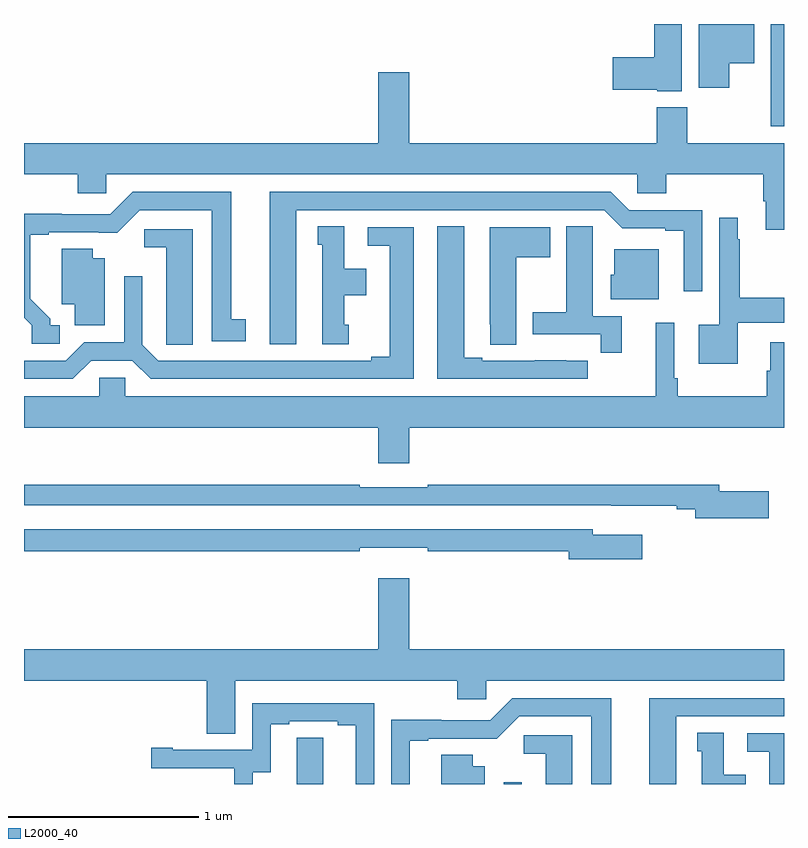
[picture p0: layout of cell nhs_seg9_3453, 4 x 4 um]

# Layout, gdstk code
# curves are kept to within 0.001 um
import gdstk
lib = gdstk.Library(unit=1e-6, precision=1e-09)
def R(c, l, rs):  # rectangles x0, y0, x1, y1
    for r in rs: c.add(gdstk.rectangle(r[:2], r[2:], *l))
def P(c, l, *ps):  # polygons
    for p in ps: c.add(gdstk.Polygon(p, *l))
L2000_40 = (2000, 40)

nhs_seg9_3453 = lib.new_cell('nhs_seg9_3453')
R(nhs_seg9_3453, L2000_40, [(309.525,1238.5,309.621,1238.509), (310.931,1241.963,311,1242.5)])
P(nhs_seg9_3453, L2000_40, [(310.462,1242.5),(310.316,1242.5),(310.316,1242.326),(310.098,1242.326),(310.098,1242.155),(310.332,1242.155),(310.332,1242.146),(310.462,1242.146)],
  [(310.711,1242.293),(310.843,1242.293),(310.843,1242.5),(310.55,1242.5),(310.55,1242.165),(310.711,1242.165)],
  [(311,1241.872),(310.491,1241.872),(310.491,1242.061),(310.331,1242.061),(310.331,1241.872),(309.028,1241.872),(309.028,1242.247),(308.864,1242.247),(308.864,1241.872),(307,1241.872),(307,1241.708),(307.283,1241.708),(307.283,1241.61),(307.434,1241.61),(307.434,1241.708),(310.227,1241.708),(310.227,1241.61),(310.379,1241.61),(310.379,1241.708),(310.892,1241.708),(310.892,1241.566),(310.904,1241.566),(310.904,1241.418),(311,1241.418)],
  [(307.187,1240.914),(307.138,1240.914),(307.138,1240.949),(307.033,1241.054),(307.033,1241.391),(307.129,1241.391),(307.129,1241.403),(307.49,1241.402),(307.608,1241.52),(307.988,1241.52),(307.988,1240.83),(308.167,1240.83),(308.167,1240.946),(308.092,1240.946),(308.092,1241.616),(307.572,1241.616),(307.455,1241.499),(307.199,1241.499),(307.199,1241.501),(307,1241.501),(307,1240.955),(307.041,1240.914),(307.041,1240.818),(307.187,1240.818)],
  [(308.434,1241.52),(310.053,1241.52),(310.149,1241.424),(310.376,1241.424),(310.376,1241.412),(310.472,1241.412),(310.472,1241.094),(310.569,1241.094),(310.569,1241.52),(310.185,1241.52),(310.089,1241.616),(308.294,1241.616),(308.294,1240.815),(308.434,1240.815)],
  [(310.756,1240.928),(311,1240.928),(311,1241.058),(310.768,1241.058),(310.768,1241.366),(310.756,1241.366),(310.756,1241.479),(310.659,1241.479),(310.659,1240.918),(310.55,1240.918),(310.55,1240.712),(310.756,1240.712)],
  [(310.145,1240.962),(309.994,1240.962),(309.994,1241.324),(309.993,1241.324),(309.993,1241.435),(309.854,1241.435),(309.854,1240.983),(309.677,1240.983),(309.677,1240.866),(310.036,1240.866),(310.036,1240.77),(310.145,1240.77)],
  [(309.967,1240.728),(309.854,1240.728),(309.854,1240.729),(309.688,1240.729),(309.688,1240.728),(309.412,1240.728),(309.412,1240.743),(309.316,1240.743),(309.316,1241.435),(309.176,1241.435),(309.176,1240.632),(309.967,1240.632)],
  [(308.71,1240.917),(308.686,1240.917),(308.686,1241.072),(308.8,1241.072),(308.8,1241.212),(308.686,1241.212),(308.686,1241.435),(308.546,1241.435),(308.546,1241.337),(308.57,1241.337),(308.57,1240.815),(308.71,1240.815)],
  [(309.592,1241.272),(309.769,1241.272),(309.769,1241.431),(309.452,1241.431),(309.452,1240.921),(309.453,1240.921),(309.453,1240.813),(309.592,1240.813)],
  [(307.353,1240.728),(307.571,1240.728),(307.667,1240.632),(309.052,1240.632),(309.052,1241.43),(308.808,1241.43),(308.808,1241.334),(308.924,1241.334),(308.924,1240.748),(308.828,1240.748),(308.828,1240.728),(307.707,1240.728),(307.623,1240.812),(307.623,1241.173),(307.527,1241.173),(307.527,1240.824),(307.317,1240.824),(307.221,1240.728),(307,1240.728),(307,1240.632),(307.257,1240.632)],
  [(307.888,1241.421),(307.632,1241.421),(307.632,1241.324),(307.748,1241.324),(307.748,1240.921),(307.749,1240.921),(307.749,1240.813),(307.888,1240.813)],
  [(307.426,1241.266),(307.363,1241.266),(307.363,1241.318),(307.199,1241.318),(307.199,1241.024),(307.268,1241.024),(307.268,1240.914),(307.426,1240.914)],
  [(310.342,1241.314),(310.106,1241.314),(310.106,1241.181),(310.088,1241.181),(310.088,1241.051),(310.342,1241.051)],
  [(309.028,1240.376),(311,1240.376),(311,1240.825),(310.928,1240.825),(310.928,1240.674),(310.909,1240.674),(310.909,1240.54),(310.442,1240.54),(310.442,1240.636),(310.422,1240.636),(310.422,1240.927),(310.325,1240.927),(310.325,1240.54),(307.533,1240.54),(307.533,1240.638),(307.395,1240.638),(307.395,1240.54),(307,1240.54),(307,1240.376),(308.864,1240.376),(308.864,1240.188),(309.028,1240.188)],
  [(310.921,1240.041),(310.66,1240.041),(310.66,1240.075),(309.124,1240.075),(309.124,1240.062),(308.768,1240.062),(308.768,1240.075),(307,1240.075),(307,1239.966),(310.09,1239.966),(310.09,1239.965),(310.436,1239.965),(310.436,1239.946),(310.532,1239.946),(310.532,1239.899),(310.921,1239.899)],
  [(310.255,1239.811),(309.994,1239.811),(309.994,1239.84),(307,1239.84),(307,1239.724),(308.768,1239.724),(308.768,1239.743),(309.124,1239.743),(309.124,1239.724),(309.866,1239.724),(309.866,1239.682),(310.255,1239.682)],
  [(309.028,1239.583),(308.864,1239.583),(308.864,1239.208),(307,1239.208),(307,1239.044),(307.961,1239.044),(307.961,1238.764),(308.113,1238.764),(308.113,1239.044),(309.281,1239.044),(309.281,1238.946),(309.432,1238.946),(309.432,1239.044),(311,1239.044),(311,1239.208),(309.028,1239.208)],
  [(309.031,1238.727),(309.127,1238.727),(309.127,1238.739),(309.488,1238.738),(309.606,1238.856),(309.986,1238.856),(309.986,1238.5),(310.09,1238.5),(310.09,1238.952),(309.57,1238.952),(309.453,1238.835),(309.197,1238.835),(309.197,1238.837),(308.934,1238.837),(308.934,1238.5),(309.031,1238.5)],
  [(310.432,1238.856),(311,1238.856),(311,1238.952),(310.292,1238.952),(310.292,1238.5),(310.432,1238.5)],
  [(308.205,1238.563),(308.299,1238.563),(308.299,1238.814),(308.395,1238.814),(308.395,1238.829),(308.651,1238.829),(308.651,1238.809),(308.747,1238.809),(308.747,1238.5),(308.844,1238.5),(308.844,1238.925),(308.202,1238.925),(308.202,1238.679),(307.783,1238.679),(307.783,1238.692),(307.671,1238.692),(307.671,1238.583),(308.106,1238.583),(308.106,1238.5),(308.205,1238.5)],
  [(310.798,1238.548),(310.684,1238.548),(310.684,1238.771),(310.544,1238.771),(310.544,1238.673),(310.568,1238.673),(310.568,1238.5),(310.798,1238.5)],
  [(311,1238.766),(310.806,1238.766),(310.806,1238.67),(310.922,1238.67),(310.922,1238.5),(311,1238.5)],
  [(309.886,1238.757),(309.63,1238.757),(309.63,1238.66),(309.746,1238.66),(309.746,1238.5),(309.886,1238.5)],
  [(308.575,1238.744),(308.436,1238.744),(308.436,1238.636),(308.435,1238.636),(308.435,1238.5),(308.575,1238.5)],
  [(309.424,1238.593),(309.361,1238.593),(309.361,1238.654),(309.197,1238.654),(309.197,1238.5),(309.424,1238.5)])

lib.write_gds('nhs_seg9_3453.gds')
